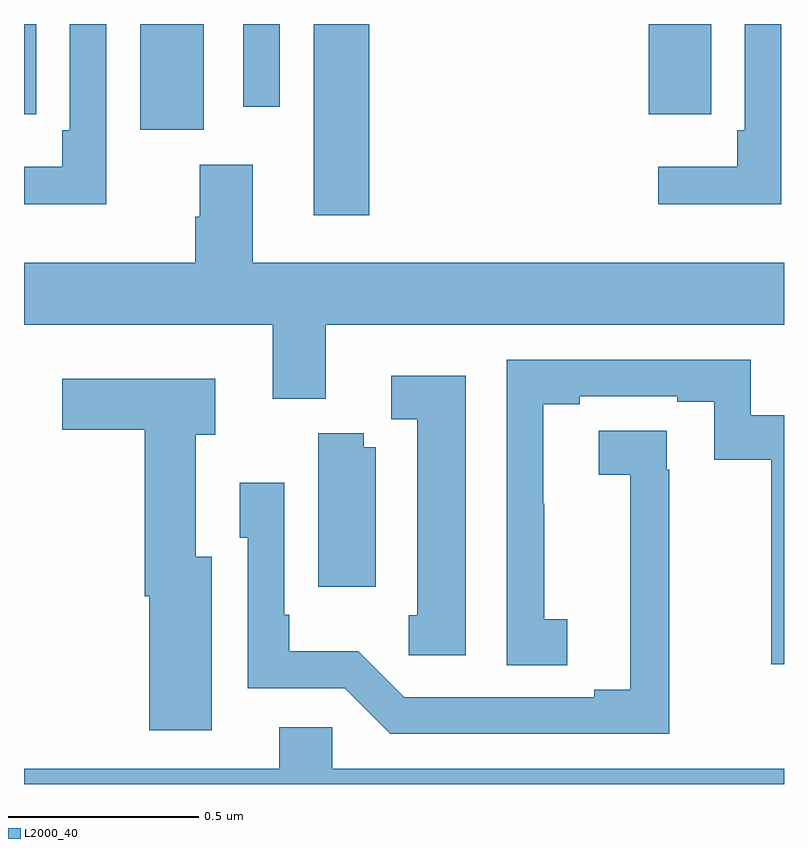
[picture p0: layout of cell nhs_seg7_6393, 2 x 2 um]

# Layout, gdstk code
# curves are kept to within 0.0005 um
import gdstk
lib = gdstk.Library(unit=1e-6, precision=1e-09)
def R(c, l, rs):  # rectangles x0, y0, x1, y1
    for r in rs: c.add(gdstk.rectangle(r[:2], r[2:], *l))
def P(c, l, *ps):  # polygons
    for p in ps: c.add(gdstk.Polygon(p, *l))
L2000_40 = (2000, 40)

nhs_seg7_6393 = lib.new_cell('nhs_seg7_6393')
R(nhs_seg7_6393, L2000_40, [(197.762,1075.497,197.909,1076), (197.306,1075.722,197.473,1076), (197,1075.763,197.032,1076), (198.644,1075.763,198.808,1076), (197.577,1075.782,197.673,1076)])
P(nhs_seg7_6393, L2000_40, [(197.217,1076),(197.121,1076),(197.121,1075.72),(197.101,1075.72),(197.101,1075.624),(197,1075.624),(197,1075.526),(197.217,1075.526)],
  [(198.993,1076),(198.897,1076),(198.897,1075.72),(198.877,1075.72),(198.877,1075.624),(198.669,1075.624),(198.669,1075.526),(198.993,1075.526)],
  [(197.794,1075.208),(199,1075.208),(199,1075.372),(197.602,1075.372),(197.602,1075.63),(197.462,1075.63),(197.462,1075.493),(197.45,1075.493),(197.45,1075.372),(197,1075.372),(197,1075.208),(197.654,1075.208),(197.654,1075.014),(197.794,1075.014)],
  [(198.43,1074.433),(198.369,1074.433),(198.369,1074.737),(198.367,1074.737),(198.367,1075),(198.463,1075),(198.463,1075.02),(198.719,1075.02),(198.719,1075.006),(198.816,1075.006),(198.816,1074.853),(198.967,1074.853),(198.967,1074.315),(199,1074.315),(199,1074.97),(198.912,1074.97),(198.912,1075.116),(198.27,1075.116),(198.27,1074.313),(198.43,1074.313)],
  [(198.163,1075.075),(197.967,1075.075),(197.967,1074.96),(198.035,1074.96),(198.035,1074.444),(198.013,1074.444),(198.013,1074.339),(198.163,1074.339)],
  [(197.494,1074.598),(197.452,1074.598),(197.452,1074.919),(197.503,1074.919),(197.503,1075.066),(197.1,1075.066),(197.1,1074.932),(197.318,1074.932),(197.318,1074.494),(197.33,1074.494),(197.33,1074.141),(197.494,1074.141)],
  [(198.698,1074.827),(198.692,1074.827),(198.692,1074.929),(198.513,1074.929),(198.513,1074.814),(198.595,1074.814),(198.596,1074.248),(198.5,1074.248),(198.5,1074.228),(198,1074.228),(197.879,1074.349),(197.698,1074.349),(197.698,1074.445),(197.685,1074.445),(197.685,1074.793),(197.568,1074.793),(197.568,1074.648),(197.589,1074.648),(197.589,1074.252),(197.844,1074.252),(197.964,1074.132),(198.698,1074.132)],
  [(197.926,1074.886),(197.894,1074.886),(197.894,1074.923),(197.774,1074.923),(197.774,1074.519),(197.926,1074.519)],
  [(199,1074.04),(197.811,1074.04),(197.811,1074.15),(197.672,1074.15),(197.672,1074.04),(197,1074.04),(197,1074),(199,1074)])

lib.write_gds('nhs_seg7_6393.gds')
